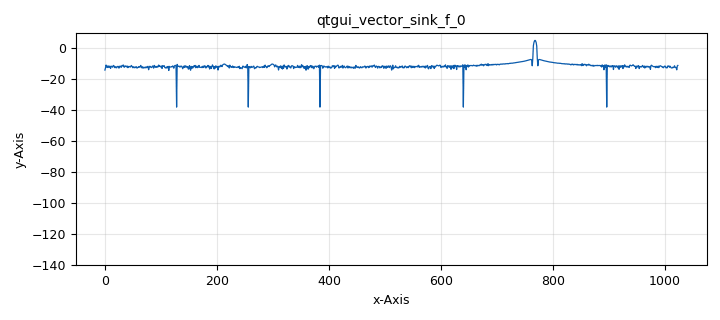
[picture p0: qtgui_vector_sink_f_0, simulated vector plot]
<?xml version='1.0' encoding='utf-8'?>
<?grc format='1' created='3.7.11'?>
<flow_graph>
<block>
<key>options</key>
<param><key>id</key><value>top_block</value></param>
<param><key>comment</key><value>This flowgraph is a starting point for adding in my 
own custom python blocks. It is also me just experimenting
with throttle &amp; Stream to Vector.</value></param>
<param><key>generate_options</key><value>qt_gui</value></param>
</block>
<block>
<key>variable</key>
<param><key>id</key><value>max_signal_freq</value></param>
<param><key>value</key><value>samp_rate/2</value></param>
</block>
<block>
<key>variable</key>
<param><key>id</key><value>samp_rate</value></param>
<param><key>value</key><value>100000</value></param>
</block>
<block>
<key>variable_qtgui_range</key>
<param><key>id</key><value>variable_qtgui_signal_freq</value></param>
<param><key>value</key><value>25000</value></param>
<param><key>orient</key><value>Qt.Horizontal</value></param>
<param><key>start</key><value>1000</value></param>
<param><key>step</key><value>100</value></param>
<param><key>stop</key><value>max_signal_freq</value></param>
</block>
<block>
<key>analog_sig_source_x</key>
<param><key>id</key><value>analog_sig_source_x_0</value></param>
<param><key>amp</key><value>1</value></param>
<param><key>freq</key><value>variable_qtgui_signal_freq</value></param>
<param><key>offset</key><value>0</value></param>
<param><key>type</key><value>complex</value></param>
<param><key>samp_rate</key><value>samp_rate</value></param>
<param><key>waveform</key><value>analog.GR_COS_WAVE</value></param>
</block>
<block>
<key>blocks_complex_to_mag_squared</key>
<param><key>id</key><value>blocks_complex_to_mag_squared_0</value></param>
<param><key>vlen</key><value>1024</value></param>
</block>
<block>
<key>blocks_nlog10_ff</key>
<param><key>id</key><value>blocks_nlog10_ff_0</value></param>
<param><key>vlen</key><value>1024</value></param>
<param><key>k</key><value>0</value></param>
<param><key>n</key><value>1</value></param>
</block>
<block>
<key>blocks_stream_to_vector</key>
<param><key>id</key><value>blocks_stream_to_vector_0</value></param>
<param><key>type</key><value>complex</value></param>
<param><key>num_items</key><value>1024</value></param>
</block>
<block>
<key>blocks_throttle</key>
<param><key>id</key><value>blocks_throttle_0_0</value></param>
<param><key>samples_per_second</key><value>samp_rate</value></param>
<param><key>type</key><value>complex</value></param>
</block>
<block>
<key>fft_vxx</key>
<param><key>id</key><value>fft_vxx_0</value></param>
<param><key>fft_size</key><value>1024</value></param>
<param><key>forward</key><value>True</value></param>
<param><key>type</key><value>complex</value></param>
<param><key>shift</key><value>True</value></param>
<param><key>window</key><value>window.blackmanharris(1024)</value></param>
</block>
<block>
<key>qtgui_sink_x</key>
<param><key>id</key><value>qtgui_sink_x_0</value></param>
<param><key>bw</key><value>samp_rate</value></param>
<param><key>fc</key><value>0</value></param>
<param><key>freqchangevar</key><value>None</value></param>
<param><key>_enabled</key><value>0</value></param>
<param><key>fftsize</key><value>1024*8</value></param>
<param><key>plotconst</key><value>False</value></param>
<param><key>plotwaterfall</key><value>False</value></param>
<param><key>showports</key><value>True</value></param>
<param><key>showrf</key><value>True</value></param>
<param><key>type</key><value>complex</value></param>
<param><key>wintype</key><value>firdes.WIN_BLACKMAN_hARRIS</value></param>
</block>
<block>
<key>qtgui_vector_sink_f</key>
<param><key>id</key><value>qtgui_vector_sink_f_0</value></param>
<param><key>showports</key><value>True</value></param>
<param><key>vlen</key><value>1024</value></param>
<param><key>x_start</key><value>0</value></param>
<param><key>x_step</key><value>1.0</value></param>
</block>
<connection><source_block_id>analog_sig_source_x_0</source_block_id><sink_block_id>blocks_throttle_0_0</sink_block_id><source_key>0</source_key><sink_key>0</sink_key></connection>
<connection><source_block_id>blocks_complex_to_mag_squared_0</source_block_id><sink_block_id>blocks_nlog10_ff_0</sink_block_id><source_key>0</source_key><sink_key>0</sink_key></connection>
<connection><source_block_id>blocks_nlog10_ff_0</source_block_id><sink_block_id>qtgui_vector_sink_f_0</sink_block_id><source_key>0</source_key><sink_key>0</sink_key></connection>
<connection><source_block_id>blocks_stream_to_vector_0</source_block_id><sink_block_id>fft_vxx_0</sink_block_id><source_key>0</source_key><sink_key>0</sink_key></connection>
<connection><source_block_id>blocks_throttle_0_0</source_block_id><sink_block_id>blocks_stream_to_vector_0</sink_block_id><source_key>0</source_key><sink_key>0</sink_key></connection>
<connection><source_block_id>blocks_throttle_0_0</source_block_id><sink_block_id>qtgui_sink_x_0</sink_block_id><source_key>0</source_key><sink_key>0</sink_key></connection>
<connection><source_block_id>fft_vxx_0</source_block_id><sink_block_id>blocks_complex_to_mag_squared_0</sink_block_id><source_key>0</source_key><sink_key>0</sink_key></connection>
</flow_graph>
